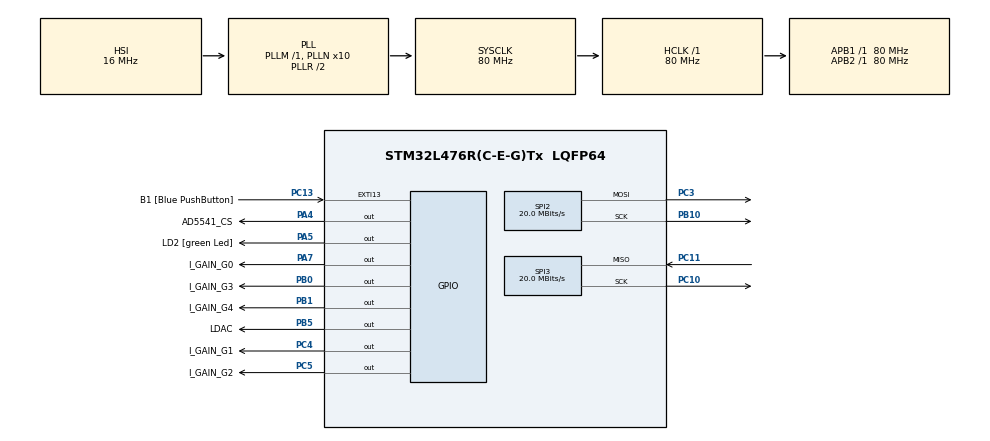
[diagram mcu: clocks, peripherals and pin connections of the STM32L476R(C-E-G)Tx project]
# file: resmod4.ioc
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Mcu.Family=STM32L4
Mcu.Name=STM32L476R(C-E-G)Tx
Mcu.Package=LQFP64
NVIC.PriorityGroup=NVIC_PRIORITYGROUP_4
NVIC.TIM2_IRQn=true\:0\:0\:false\:false\:true\:true
PA13\ (JTMS-SWDIO).GPIO_Label=TMS
PA13\ (JTMS-SWDIO).Signal=SYS_JTMS-SWDIO
PA14\ (JTCK-SWCLK).GPIO_Label=TCK
PA14\ (JTCK-SWCLK).Signal=SYS_JTCK-SWCLK
PA2.GPIO_Label=USART_TX
PA2.GPIO_Mode=GPIO_MODE_AF_PP
PA2.GPIO_PuPd=GPIO_NOPULL
PA2.GPIO_Speed=GPIO_SPEED_FREQ_VERY_HIGH
PA2.Signal=USART2_TX
PA3.GPIO_Label=USART_RX
PA3.GPIO_Mode=GPIO_MODE_AF_PP
PA3.GPIO_PuPd=GPIO_NOPULL
PA3.GPIO_Speed=GPIO_SPEED_FREQ_VERY_HIGH
PA3.Signal=USART2_RX
PA4.GPIO_Label=AD5541_CS
PA4.Signal=GPIO_Output
PA5.GPIO_Label=LD2 [green Led]
PA5.GPIO_ModeDefaultOutputPP=GPIO_MODE_OUTPUT_PP
PA5.GPIO_PuPd=GPIO_NOPULL
PA5.GPIO_Speed=GPIO_SPEED_FREQ_LOW
PA5.Signal=GPIO_Output
PA7.GPIO_Label=I_GAIN_G0
PA7.Signal=GPIO_Output
PB0.GPIO_Label=I_GAIN_G3
PB0.Signal=GPIO_Output
PB1.GPIO_Label=I_GAIN_G4
PB1.Signal=GPIO_Output
PB10.Mode=TX_Only_Simplex_Unidirect_Master
PB10.Signal=SPI2_SCK
PB3\ (JTDO-TRACESWO).GPIO_Label=SWO
PB3\ (JTDO-TRACESWO).Signal=SYS_JTDO-SWO
PB5.GPIO_Label=LDAC
PB5.Signal=GPIO_Output
PC10.Mode=RX_Only_Simplex_Unidirect_Master
PC10.Signal=SPI3_SCK
PC11.Mode=RX_Only_Simplex_Unidirect_Master
PC11.Signal=SPI3_MISO
PC13.GPIO_Label=B1 [Blue PushButton]
PC13.GPIO_ModeDefaultEXTI=GPIO_MODE_IT_FALLING
PC13.GPIO_PuPd=GPIO_NOPULL
PC13.Signal=GPXTI13
PC14-OSC32_IN\ (PC14).Signal=RCC_OSC32_IN
PC15-OSC32_OUT\ (PC15).Signal=RCC_OSC32_OUT
PC3.Mode=TX_Only_Simplex_Unidirect_Master
PC3.Signal=SPI2_MOSI
PC4.GPIO_Label=I_GAIN_G1
PC4.Signal=GPIO_Output
PC5.GPIO_Label=I_GAIN_G2
PC5.Signal=GPIO_Output
PH0-OSC_IN\ (PH0).Signal=RCC_OSC_IN
PH1-OSC_OUT\ (PH1).Signal=RCC_OSC_OUT
ProjectManager.HeapSize=0x200
ProjectManager.StackSize=0x400
ProjectManager.TargetToolchain=TrueSTUDIO
RCC.ADCFreq_Value=64000000
RCC.AHBFreq_Value=80000000
RCC.APB1Freq_Value=80000000
RCC.APB1TimFreq_Value=80000000
RCC.APB2Freq_Value=80000000
RCC.APB2TimFreq_Value=80000000
RCC.CortexFreq_Value=80000000
RCC.HCLKFreq_Value=80000000
RCC.HSE_VALUE=8000000
RCC.HSI_VALUE=16000000
RCC.LSE_VALUE=32768
RCC.MSI_VALUE=4000000
RCC.PLLN=10
RCC.PLLSourceVirtual=RCC_PLLSOURCE_HSI
RCC.PREFETCH_ENABLE=1
RCC.SYSCLKFreq_VALUE=80000000
RCC.SYSCLKSource=RCC_SYSCLKSOURCE_PLLCLK
RCC.USBFreq_Value=64000000
RCC.VCOOutputFreq_Value=160000000
SPI2.BaudRatePrescaler=SPI_BAUDRATEPRESCALER_4
SPI2.CalculateBaudRate=20.0 MBits/s
SPI2.DataSize=SPI_DATASIZE_8BIT
SPI2.Direction=SPI_DIRECTION_2LINES
SPI2.Mode=SPI_MODE_MASTER
SPI2.NSSPMode=SPI_NSS_PULSE_DISABLE
SPI2.VirtualType=VM_MASTER
SPI3.BaudRatePrescaler=SPI_BAUDRATEPRESCALER_4
SPI3.CalculateBaudRate=20.0 MBits/s
SPI3.DataSize=SPI_DATASIZE_8BIT
SPI3.Direction=SPI_DIRECTION_2LINES_RXONLY
SPI3.Mode=SPI_MODE_MASTER
SPI3.NSSPMode=SPI_NSS_PULSE_DISABLE
SPI3.VirtualType=VM_MASTER
TIM2.AutoReloadPreload=TIM_AUTORELOAD_PRELOAD_ENABLE
TIM2.Period=800
TIM2.Prescaler=1
VP_TIM2_VS_ClockSourceINT.Mode=Internal
board=NUCLEO-L476RG

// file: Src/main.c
/**
  ******************************************************************************
  * @file           : main.c
  * @brief          : Main program body
  ******************************************************************************
  ** This notice applies to any and all portions of this file
  * that are not between comment pairs USER CODE BEGIN and
  * USER CODE END. Other portions of this file, whether
  * inserted by the user or by software development tools
  * are owned by their respective copyright owners.
  *
  * COPYRIGHT(c) 2018 STMicroelectronics
  *
  * Redistribution and use in source and binary forms, with or without modification,
  * are permitted provided that the following conditions are met:
  *   1. Redistributions of source code must retain the above copyright notice,
  *      this list of conditions and the following disclaimer.
  *   2. Redistributions in binary form must reproduce the above copyright notice,
  *      this list of conditions and the following disclaimer in the documentation
  *      and/or other materials provided with the distribution.
  *   3. Neither the name of STMicroelectronics nor the names of its contributors
  *      may be used to endorse or promote products derived from this software
  *      without specific prior written permission.
  *
  * THIS SOFTWARE IS PROVIDED BY THE COPYRIGHT HOLDERS AND CONTRIBUTORS "AS IS"
  * AND ANY EXPRESS OR IMPLIED WARRANTIES, INCLUDING, BUT NOT LIMITED TO, THE
  * IMPLIED WARRANTIES OF MERCHANTABILITY AND FITNESS FOR A PARTICULAR PURPOSE ARE
  * DISCLAIMED. IN NO EVENT SHALL THE COPYRIGHT HOLDER OR CONTRIBUTORS BE LIABLE
  * FOR ANY DIRECT, INDIRECT, INCIDENTAL, SPECIAL, EXEMPLARY, OR CONSEQUENTIAL
  * DAMAGES (INCLUDING, BUT NOT LIMITED TO, PROCUREMENT OF SUBSTITUTE GOODS OR
  * SERVICES; LOSS OF USE, DATA, OR PROFITS; OR BUSINESS INTERRUPTION) HOWEVER
  * CAUSED AND ON ANY THEORY OF LIABILITY, WHETHER IN CONTRACT, STRICT LIABILITY,
  * OR TORT (INCLUDING NEGLIGENCE OR OTHERWISE) ARISING IN ANY WAY OUT OF THE USE
  * OF THIS SOFTWARE, EVEN IF ADVISED OF THE POSSIBILITY OF SUCH DAMAGE.
  *
  ******************************************************************************
  */
#include "main.h"
#include "stm32l4xx_hal.h"

/* USER CODE BEGIN Includes */
#include "arm_math.h"
#include "dwt_stm32_delay.h"

/* USER CODE END Includes */

SPI_HandleTypeDef hspi2;
SPI_HandleTypeDef hspi3;

TIM_HandleTypeDef htim2;

/* USER CODE BEGIN PV */
/* Private variables ---------------------------------------------------------*/

uint8_t DataToSend[2] = {0xaf, 0x00};
uint8_t buffer_spi[3];

/* USER CODE END PV */

void SystemClock_Config(void);
static void MX_GPIO_Init(void);
static void MX_SPI2_Init(void);
static void MX_SPI3_Init(void);
static void MX_TIM2_Init(void);

/* USER CODE BEGIN PFP */
/* Private function prototypes -----------------------------------------------*/

/* USER CODE END PFP */

int main(void)
{

  /* MCU Configuration----------------------------------------------------------*/

  /* Reset of all peripherals, Initializes the Flash interface and the Systick. */
  HAL_Init();

  /* Configure the system clock */
  SystemClock_Config();

  /* Initialize all configured peripherals */
  MX_GPIO_Init();
  MX_SPI2_Init();
  MX_SPI3_Init();
  MX_TIM2_Init();
  /* USER CODE BEGIN 2 */
  DWT_Delay_Init ();
  HAL_GPIO_WritePin(GPIOA, GPIO_PIN_11,GPIO_PIN_RESET);

  HAL_GPIO_WritePin(GPIOA, AD5541_CS_Pin, GPIO_PIN_SET);
  HAL_TIM_Base_Start_IT(&htim2);
  HAL_Delay(100);

  HAL_GPIO_WritePin(GPIOA, AD5541_CS_Pin, GPIO_PIN_RESET);
  HAL_SPI_Transmit(&hspi2, (uint8_t*)(DataToSend), 2, 50);
  HAL_GPIO_WritePin(GPIOA, AD5541_CS_Pin, GPIO_PIN_SET);	//DAC done

  HAL_Delay(100);

  HAL_GPIO_WritePin(GPIOA, GPIO_PIN_11,GPIO_PIN_SET);
  DWT_Delay_us (10);  //3us CNV pulse required
  //HAL_Delay(1);
  HAL_GPIO_WritePin(GPIOA, GPIO_PIN_11,GPIO_PIN_RESET);
  DWT_Delay_us (1);
  HAL_SPI_Receive(&hspi3, (uint8_t*)buffer_spi, 3,50);

  HAL_Delay(100);

  HAL_Delay(100);

    HAL_GPIO_WritePin(GPIOA, GPIO_PIN_11,GPIO_PIN_SET);
    DWT_Delay_us (10);  //3us CNV pulse required
    //HAL_Delay(1);
    HAL_GPIO_WritePin(GPIOA, GPIO_PIN_11,GPIO_PIN_RESET);
    DWT_Delay_us (1);
    HAL_SPI_Receive(&hspi3, (uint8_t*)buffer_spi, 3,50);

    HAL_Delay(100);

  /* USER CODE END 2 */

  /* Infinite loop */
  while (1)
  {

  }

}

void SystemClock_Config(void)
{

  RCC_OscInitTypeDef RCC_OscInitStruct;
  RCC_ClkInitTypeDef RCC_ClkInitStruct;

    /**Initializes the CPU, AHB and APB busses clocks
    */
  RCC_OscInitStruct.OscillatorType = RCC_OSCILLATORTYPE_HSI;
  RCC_OscInitStruct.HSIState = RCC_HSI_ON;
  RCC_OscInitStruct.HSICalibrationValue = 16;
  RCC_OscInitStruct.PLL.PLLState = RCC_PLL_ON;
  RCC_OscInitStruct.PLL.PLLSource = RCC_PLLSOURCE_HSI;
  RCC_OscInitStruct.PLL.PLLM = 1;
  RCC_OscInitStruct.PLL.PLLN = 10;
  RCC_OscInitStruct.PLL.PLLP = RCC_PLLP_DIV7;
  RCC_OscInitStruct.PLL.PLLQ = RCC_PLLQ_DIV2;
  RCC_OscInitStruct.PLL.PLLR = RCC_PLLR_DIV2;
  if (HAL_RCC_OscConfig(&RCC_OscInitStruct) != HAL_OK)
  {
    _Error_Handler(__FILE__, __LINE__);
  }

    /**Initializes the CPU, AHB and APB busses clocks
    */
  RCC_ClkInitStruct.ClockType = RCC_CLOCKTYPE_HCLK|RCC_CLOCKTYPE_SYSCLK
                              |RCC_CLOCKTYPE_PCLK1|RCC_CLOCKTYPE_PCLK2;
  RCC_ClkInitStruct.SYSCLKSource = RCC_SYSCLKSOURCE_PLLCLK;
  RCC_ClkInitStruct.AHBCLKDivider = RCC_SYSCLK_DIV1;
  RCC_ClkInitStruct.APB1CLKDivider = RCC_HCLK_DIV1;
  RCC_ClkInitStruct.APB2CLKDivider = RCC_HCLK_DIV1;

  if (HAL_RCC_ClockConfig(&RCC_ClkInitStruct, FLASH_LATENCY_4) != HAL_OK)
  {
    _Error_Handler(__FILE__, __LINE__);
  }

    /**Configure the main internal regulator output voltage
    */
  if (HAL_PWREx_ControlVoltageScaling(PWR_REGULATOR_VOLTAGE_SCALE1) != HAL_OK)
  {
    _Error_Handler(__FILE__, __LINE__);
  }

    /**Configure the Systick interrupt time
    */
  HAL_SYSTICK_Config(HAL_RCC_GetHCLKFreq()/1000);

    /**Configure the Systick
    */
  HAL_SYSTICK_CLKSourceConfig(SYSTICK_CLKSOURCE_HCLK);

  /* SysTick_IRQn interrupt configuration */
  HAL_NVIC_SetPriority(SysTick_IRQn, 0, 0);
}

/* SPI2 init function */
static void MX_SPI2_Init(void)
{

  /* SPI2 parameter configuration*/
  hspi2.Instance = SPI2;
  hspi2.Init.Mode = SPI_MODE_MASTER;
  hspi2.Init.Direction = SPI_DIRECTION_2LINES;
  hspi2.Init.DataSize = SPI_DATASIZE_8BIT;
  hspi2.Init.CLKPolarity = SPI_POLARITY_LOW;
  hspi2.Init.CLKPhase = SPI_PHASE_1EDGE;
  //hspi2.Init.NSS = SPI_NSS_SOFT;
  hspi2.Init.NSS = SPI_NSS_SOFT;
  hspi2.Init.BaudRatePrescaler = SPI_BAUDRATEPRESCALER_4;
  hspi2.Init.FirstBit = SPI_FIRSTBIT_MSB;
  hspi2.Init.TIMode = SPI_TIMODE_DISABLE;
  hspi2.Init.CRCCalculation = SPI_CRCCALCULATION_DISABLE;
  hspi2.Init.CRCPolynomial = 7;
  hspi2.Init.CRCLength = SPI_CRC_LENGTH_DATASIZE;
  hspi2.Init.NSSPMode = SPI_NSS_PULSE_DISABLE;
  if (HAL_SPI_Init(&hspi2) != HAL_OK)
  {
    _Error_Handler(__FILE__, __LINE__);
  }

}

/* SPI3 init function */
static void MX_SPI3_Init(void)
{

  /* SPI3 parameter configuration*/
  hspi3.Instance = SPI3;
  hspi3.Init.Mode = SPI_MODE_MASTER;
  hspi3.Init.Direction = SPI_DIRECTION_2LINES_RXONLY;
  hspi3.Init.DataSize = SPI_DATASIZE_8BIT;
  hspi3.Init.CLKPolarity = SPI_POLARITY_LOW;
  hspi3.Init.CLKPhase = SPI_PHASE_1EDGE;
  hspi3.Init.NSS = SPI_NSS_SOFT;
  hspi3.Init.BaudRatePrescaler = SPI_BAUDRATEPRESCALER_4;
  hspi3.Init.FirstBit = SPI_FIRSTBIT_MSB;
  hspi3.Init.TIMode = SPI_TIMODE_DISABLE;
  hspi3.Init.CRCCalculation = SPI_CRCCALCULATION_DISABLE;
  hspi3.Init.CRCPolynomial = 7;
  hspi3.Init.CRCLength = SPI_CRC_LENGTH_DATASIZE;
  hspi3.Init.NSSPMode = SPI_NSS_PULSE_DISABLE;
  if (HAL_SPI_Init(&hspi3) != HAL_OK)
  {
    _Error_Handler(__FILE__, __LINE__);
  }

}

/* TIM2 init function */
static void MX_TIM2_Init(void)
{

  TIM_ClockConfigTypeDef sClockSourceConfig;
  TIM_MasterConfigTypeDef sMasterConfig;

  htim2.Instance = TIM2;
  htim2.Init.Prescaler = 1;
  htim2.Init.CounterMode = TIM_COUNTERMODE_UP;
  htim2.Init.Period = 6400;
  htim2.Init.ClockDivision = TIM_CLOCKDIVISION_DIV1;
  htim2.Init.AutoReloadPreload = TIM_AUTORELOAD_PRELOAD_ENABLE;
  if (HAL_TIM_Base_Init(&htim2) != HAL_OK)
  {
    _Error_Handler(__FILE__, __LINE__);
  }

  sClockSourceConfig.ClockSource = TIM_CLOCKSOURCE_INTERNAL;
  if (HAL_TIM_ConfigClockSource(&htim2, &sClockSourceConfig) != HAL_OK)
  {
    _Error_Handler(__FILE__, __LINE__);
  }

  sMasterConfig.MasterOutputTrigger = TIM_TRGO_RESET;
  sMasterConfig.MasterSlaveMode = TIM_MASTERSLAVEMODE_DISABLE;
  if (HAL_TIMEx_MasterConfigSynchronization(&htim2, &sMasterConfig) != HAL_OK)
  {
    _Error_Handler(__FILE__, __LINE__);
  }

}

/** Configure pins as
        * Analog
        * Input
        * Output
        * EVENT_OUT
        * EXTI
     PA2   ------> USART2_TX
     PA3   ------> USART2_RX
*/
static void MX_GPIO_Init(void)
{

  GPIO_InitTypeDef GPIO_InitStruct;

  /* GPIO Ports Clock Enable */
  __HAL_RCC_GPIOC_CLK_ENABLE();
  __HAL_RCC_GPIOH_CLK_ENABLE();
  __HAL_RCC_GPIOA_CLK_ENABLE();
  __HAL_RCC_GPIOB_CLK_ENABLE();

  /*Configure GPIO pin Output Level */
  HAL_GPIO_WritePin(GPIOA, AD5541_CS_Pin|LD2_Pin|I_GAIN_G0_Pin, GPIO_PIN_RESET);

  /*Configure GPIO pin Output Level */
  HAL_GPIO_WritePin(GPIOC, I_GAIN_G1_Pin|I_GAIN_G2_Pin, GPIO_PIN_RESET);

  /*Configure GPIO pin Output Level */
  HAL_GPIO_WritePin(GPIOB, I_GAIN_G3_Pin|I_GAIN_G4_Pin|LDAC_Pin, GPIO_PIN_RESET);

  /*Configure GPIO pin : B1_Pin */
  GPIO_InitStruct.Pin = B1_Pin;
  GPIO_InitStruct.Mode = GPIO_MODE_IT_FALLING;
  GPIO_InitStruct.Pull = GPIO_NOPULL;
  HAL_GPIO_Init(B1_GPIO_Port, &GPIO_InitStruct);

  /*Configure GPIO pins : USART_TX_Pin USART_RX_Pin */
  GPIO_InitStruct.Pin = USART_TX_Pin|USART_RX_Pin;
  GPIO_InitStruct.Mode = GPIO_MODE_AF_PP;
  GPIO_InitStruct.Pull = GPIO_NOPULL;
  GPIO_InitStruct.Speed = GPIO_SPEED_FREQ_VERY_HIGH;
  GPIO_InitStruct.Alternate = GPIO_AF7_USART2;
  HAL_GPIO_Init(GPIOA, &GPIO_InitStruct);

  /*Configure GPIO pins : AD5541_CS_Pin LD2_Pin I_GAIN_G0_Pin */
  GPIO_InitStruct.Pin = AD5541_CS_Pin|LD2_Pin|I_GAIN_G0_Pin;
  GPIO_InitStruct.Mode = GPIO_MODE_OUTPUT_PP;
  GPIO_InitStruct.Pull = GPIO_NOPULL;
  GPIO_InitStruct.Speed = GPIO_SPEED_FREQ_LOW;
  HAL_GPIO_Init(GPIOA, &GPIO_InitStruct);

  /*Configure GPIO pins : I_GAIN_G1_Pin I_GAIN_G2_Pin */
  GPIO_InitStruct.Pin = I_GAIN_G1_Pin|I_GAIN_G2_Pin;
  GPIO_InitStruct.Mode = GPIO_MODE_OUTPUT_PP;
  GPIO_InitStruct.Pull = GPIO_NOPULL;
  GPIO_InitStruct.Speed = GPIO_SPEED_FREQ_LOW;
  HAL_GPIO_Init(GPIOC, &GPIO_InitStruct);

  /*Configure GPIO pins : I_GAIN_G3_Pin I_GAIN_G4_Pin LDAC_Pin */
  GPIO_InitStruct.Pin = I_GAIN_G3_Pin|I_GAIN_G4_Pin|LDAC_Pin;
  GPIO_InitStruct.Mode = GPIO_MODE_OUTPUT_PP;
  GPIO_InitStruct.Pull = GPIO_NOPULL;
  GPIO_InitStruct.Speed = GPIO_SPEED_FREQ_LOW;
  HAL_GPIO_Init(GPIOB, &GPIO_InitStruct);

}

/* USER CODE BEGIN 4 */
void HAL_TIM_PeriodElapsedCallback(TIM_HandleTypeDef *htim2)
{
    if (htim2->Instance==TIM2) //check if the interrupt comes from TIM2
    {
    	HAL_GPIO_WritePin(GPIOA, AD5541_CS_Pin, GPIO_PIN_RESET);
    	HAL_SPI_Transmit(&hspi2, (uint8_t*)(DataToSend), 2, 50);
    	HAL_GPIO_WritePin(GPIOA, AD5541_CS_Pin, GPIO_PIN_SET);	//DAC done

    	HAL_GPIO_WritePin(GPIOA, GPIO_PIN_11,GPIO_PIN_SET);
    	DWT_Delay_us (4);  //3us CNV pulse required
    	HAL_GPIO_WritePin(GPIOA, GPIO_PIN_11,GPIO_PIN_RESET);
    	DWT_Delay_us (1);
    	HAL_SPI_Receive(&hspi3, (uint8_t*)buffer_spi, 3,50);

    	DWT_Delay_us (1);
		HAL_GPIO_TogglePin(GPIOC, I_GAIN_G2_Pin); //just a debuggin gindicator
    }
}

/* USER CODE END 4 */

void _Error_Handler(char *file, int line)
{
  while(1)
  {
  }
}

/************************ (C) COPYRIGHT STMicroelectronics *****END OF FILE****/
